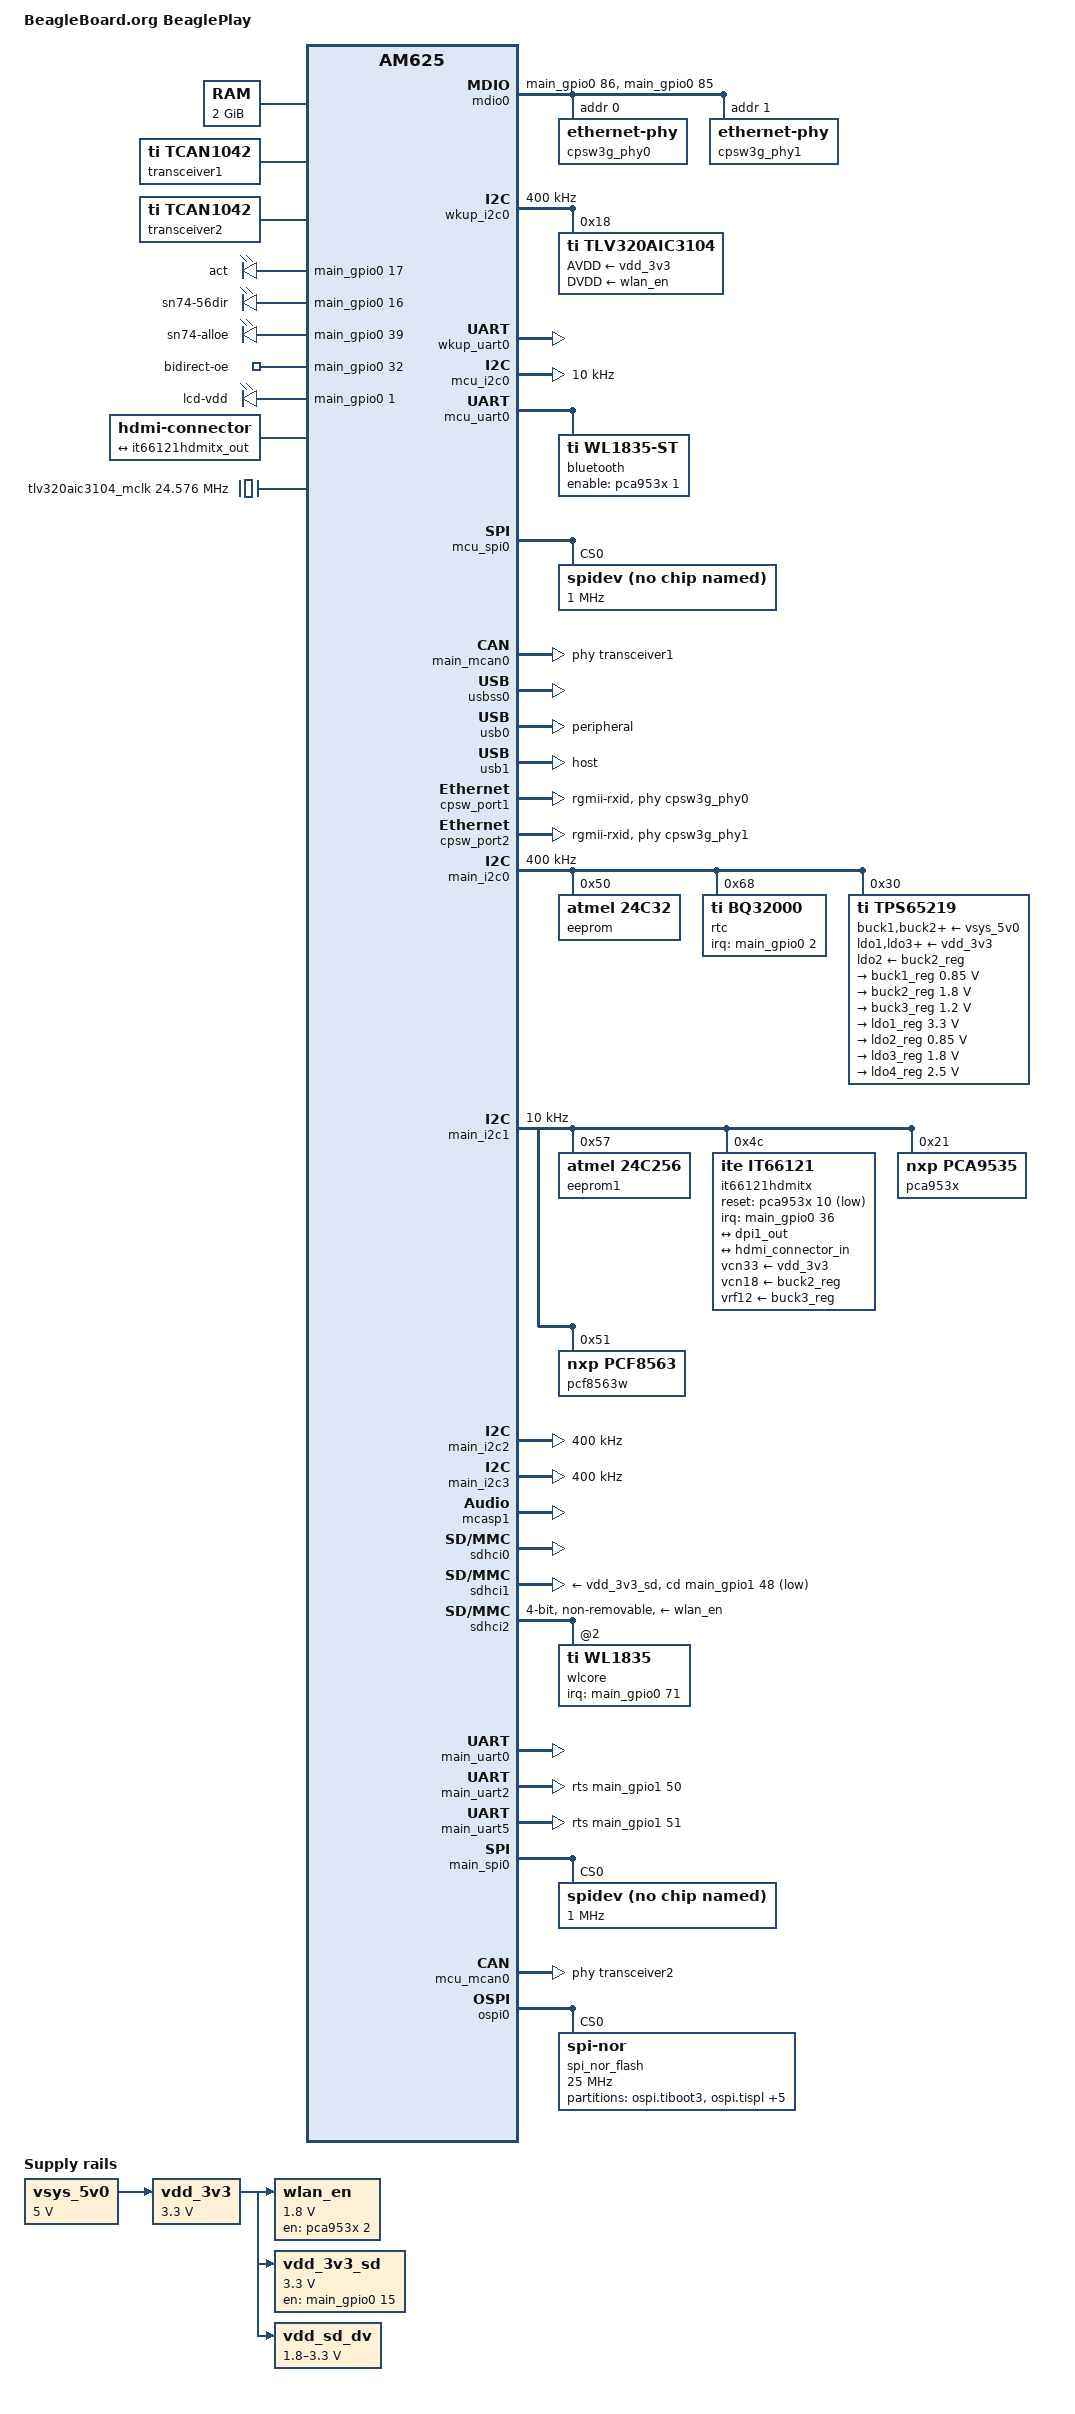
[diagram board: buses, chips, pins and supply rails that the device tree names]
// SPDX-License-Identifier: GPL-2.0
/*
 * https://beagleplay.org/
 *
 * Copyright (C) 2022-2023 Texas Instruments Incorporated - https://www.ti.com/
 * Copyright (C) 2022-2023 Robert Nelson, BeagleBoard.org Foundation
 */

/dts-v1/;

#include <dt-bindings/leds/common.h>
#include <dt-bindings/gpio/gpio.h>
#include <dt-bindings/input/input.h>
#include <dt-bindings/net/ti-dp83867.h>
#include "k3-am625.dtsi"

/ {
	compatible = "beagle,am625-beagleplay", "ti,am625";
	model = "BeagleBoard.org BeaglePlay";

	aliases {
		ethernet0 = &cpsw_port1;
		ethernet1 = &cpsw_port2;
		gpio0 = &main_gpio0;
		gpio1 = &main_gpio1;
		gpio2 = &mcu_gpio0;
		i2c0 = &main_i2c0;
		i2c1 = &main_i2c1;
		i2c2 = &main_i2c2;
		i2c3 = &main_i2c3;
		i2c4 = &wkup_i2c0;
		i2c5 = &mcu_i2c0;
		mdio-gpio0 = &mdio0;
		mmc0 = &sdhci0;
		mmc1 = &sdhci1;
		mmc2 = &sdhci2;
		rtc0 = &rtc;
		rtc1 = &wkup_rtc0;
		serial0 = &wkup_uart0;
		serial1 = &mcu_uart0;
		serial2 = &main_uart0;
		serial3 = &main_uart5;
		serial4 = &main_uart6;
		serial5 = &main_uart2;
		spi0 = &ospi0;
		spi1 = &main_spi0;
		spi2 = &mcu_spi0;
		usb0 = &usb0;
		usb1 = &usb1;
		can0 = &main_mcan0;
		can1 = &mcu_mcan0;
	};

	chosen {
		stdout-path = "serial2:115200n8";
		base_dtb = "k3-am625-beagleplay.dts";
		base_dtb_timestamp = __TIMESTAMP__;
	};

	memory@80000000 {
		device_type = "memory";
		/* 2G RAM */
		reg = <0x00000000 0x80000000 0x00000000 0x80000000>;
	};

	reserved-memory {
		#address-cells = <2>;
		#size-cells = <2>;
		ranges;

		rtos_ipc_memory_region: ipc-memories@9c800000 {
			compatible = "shared-dma-pool";
			reg = <0x00 0x9c800000 0x00 0x00300000>;
			no-map;
		};

		mcu_m4fss_dma_memory_region: m4f-dma-memory@9cb00000 {
			compatible = "shared-dma-pool";
			reg = <0x00 0x9cb00000 0x00 0x100000>;
			no-map;
		};

		mcu_m4fss_memory_region: m4f-memory@9cc00000 {
			compatible = "shared-dma-pool";
			reg = <0x00 0x9cc00000 0x00 0xe00000>;
			no-map;
		};

		wkup_r5fss0_core0_dma_memory_region: r5f-dma-memory@9da00000 {
			compatible = "shared-dma-pool";
			reg = <0x00 0x9da00000 0x00 0x00100000>;
			no-map;
		};

		wkup_r5fss0_core0_memory_region: r5f-memory@9db00000 {
			compatible = "shared-dma-pool";
			reg = <0x00 0x9db00000 0x00 0x00c00000>;
			no-map;
		};

		lpm_ctx_ddr: lpm-memory@9e700000 {
			reg = <0x00 0x9e700000 0x00 0x80000>;
			alignment = <0x1000>;
		};

		secure_tfa_ddr: tfa@9e780000 {
			reg = <0x00 0x9e780000 0x00 0x80000>;
			alignment = <0x1000>;
			no-map;
		};

		secure_ddr: optee@9e800000 {
			reg = <0x00 0x9e800000 0x00 0x01800000>; /* for OP-TEE */
			alignment = <0x1000>;
			no-map;
		};
	};

	vsys_5v0: regulator-1 {
		compatible = "regulator-fixed";
		regulator-name = "vsys_5v0";
		regulator-min-microvolt = <5000000>;
		regulator-max-microvolt = <5000000>;
		regulator-always-on;
		regulator-boot-on;
	};

	vdd_3v3: regulator-2 {
		/* output of TLV62595DMQR-U12 */
		compatible = "regulator-fixed";
		regulator-name = "vdd_3v3";
		regulator-min-microvolt = <3300000>;
		regulator-max-microvolt = <3300000>;
		vin-supply = <&vsys_5v0>;
		regulator-always-on;
		regulator-boot-on;
	};

	wlan_en: regulator-3 {
		/* OUTPUT of SN74AVC2T244DQMR */
		compatible = "regulator-fixed";
		regulator-name = "wlan_en";
		regulator-min-microvolt = <1800000>;
		regulator-max-microvolt = <1800000>;
		enable-active-high;
		regulator-always-on;
		vin-supply = <&vdd_3v3>;
		gpio = <&pca953x 2 GPIO_ACTIVE_HIGH>;
	};

	vdd_3v3_sd: regulator-4 {
		/* output of TPS22918DBVR-U21 */
		pinctrl-names = "default";
		pinctrl-0 = <&vdd_3v3_sd_pins_default>;

		compatible = "regulator-fixed";
		regulator-name = "vdd_3v3_sd";
		regulator-min-microvolt = <3300000>;
		regulator-max-microvolt = <3300000>;
		enable-active-high;
		regulator-always-on;
		vin-supply = <&vdd_3v3>;
		gpio = <&main_gpio0 15 GPIO_ACTIVE_HIGH>;
	};

	vdd_sd_dv: regulator-5 {
		compatible = "regulator-gpio";
		regulator-name = "sd_hs200_switch";
		pinctrl-names = "default";
		pinctrl-0 = <&vdd_sd_dv_pins_default>;
		regulator-min-microvolt = <1800000>;
		regulator-max-microvolt = <3300000>;
		regulator-boot-on;
		vin-supply = <&vdd_3v3>;
		gpios = <&main_gpio1 12 GPIO_ACTIVE_HIGH>;
		states = <1800000 0x1>,
			 <3300000 0x0>;
	};

	transceiver1: can-phy1 {
		compatible = "ti,tcan1042";
		#phy-cells = <0>;
		max-bitrate = <5000000>;
	};
	transceiver2: can-phy2 {
		compatible = "ti,tcan1042";
		#phy-cells = <0>;
		max-bitrate = <5000000>;
	};

	leds {
		compatible = "gpio-leds";
		pinctrl-names = "default";
		pinctrl-0 = <&core_board_io>;

		led-1 {
			label = "act";
			gpios = <&main_gpio0 17 GPIO_ACTIVE_HIGH>;
			linux,default-trigger = "mmc1";
 			default-state = "off";
 		};

		led-3 {
			label = "sn74-56dir";
			gpios = <&main_gpio0 16 GPIO_ACTIVE_HIGH>;
			linux,default-trigger = "default-off";
			default-state = "off";
 		};
		led-6 {
			label = "sn74-alloe";
			gpios = <&main_gpio0 39 GPIO_ACTIVE_HIGH>;
			linux,default-trigger = "default-off";
			default-state = "off";
 		};
		led-7 {
			label = "bidirect-oe";
			gpios = <&main_gpio0 32 GPIO_ACTIVE_HIGH>;
			linux,default-trigger = "default-off";
			default-state = "on";
 		};
		led-8 {
			label = "lcd-vdd";
			gpios = <&main_gpio0 1 GPIO_ACTIVE_HIGH>;
			linux,default-trigger = "default-off";
			default-state = "on";
 		};
	};

	hdmi0: connector {
		compatible = "hdmi-connector";
		label = "hdmi";
		type = "a";
		port {
			hdmi_connector_in: endpoint {
				remote-endpoint = <&it66121hdmitx_out>;
			};
		};
	};

	tlv320aic3104_mclk: tlv320aic3104_mclk {
		#clock-cells = <0>;
		compatible = "fixed-clock";
		clock-frequency = <24576000>;
	};

	sound {
		//compatible = "simple-audio-card";
		//simple-audio-card,name = "it66121 HDMI";
		//simple-audio-card,format = "i2s";
		//simple-audio-card,bitclock-master = <&hdmi_dailink_master>;
		//simple-audio-card,frame-master = <&hdmi_dailink_master>;
		//simple-audio-card,mclk-fs = <2182>;

		//hdmi_dailink_master: simple-audio-card,cpu {
		//	sound-dai = <&mcasp1>;
		//	system-clock-frequency = <24000000>;
		//	system-clock-direction-out;
		//};

		//simple-audio-card,codec {
		//	sound-dai = <&it66121hdmitx>;
		//};

		compatible = "simple-audio-card";
		simple-audio-card,format = "i2s";
		simple-audio-card,name = "beaglemod voice";
		simple-audio-card,bitclock-master = <&dailink0_master>;
		simple-audio-card,frame-master = <&dailink0_master>;
		status = "okay";

		simple-audio-card,widgets =
			"Headphone", "Headphone Jack",
			"Line", "Line In";
		simple-audio-card,routing =
			"Headphone Jack",       "HPLOUT",
			"Headphone Jack",       "HPROUT",
			"LINE1L",               "Line In",
			"LINE1R",               "Line In";
		dailink0_master: simple-audio-card,cpu {
			sound-dai = <&mcasp1>;
			system-clock-direction-out;
		};
		simple-audio-card,codec {
			sound-dai = <&tlv320aic3104>;
			clocks = <&tlv320aic3104_mclk>;
		};
	};

	mdio0: bitbang-mdio {
		compatible = "virtual,mdio-gpio";
		pinctrl-names = "default";
		pinctrl-0 = <&mdio0_pins_default>;
		gpios = <&main_gpio0 86 GPIO_ACTIVE_HIGH>, /* MDC */
			<&main_gpio0 85 GPIO_ACTIVE_HIGH>; /* MDIO */
		#address-cells = <1>;
		#size-cells = <0>;

		cpsw3g_phy0: ethernet-phy@0 {
			reg = <0>;
			reset-assert-us = <25>;
			reset-deassert-us = <60000>; /* T2 */
		};

		cpsw3g_phy1: ethernet-phy@1 {
			reg = <1>;
			reset-assert-us = <25>;
			reset-deassert-us = <60000>; /* T2 */
		};
	};
};

&main_pmx0 {
	hdmi_pins_default: hdmi-pins-default {
		pinctrl-single,pins = <
			AM62X_IOPAD(0x0100, PIN_OUTPUT, 0) /* (AC25) VOUT0_VSYNC */
			AM62X_IOPAD(0x00f8, PIN_OUTPUT, 0) /* (AB24) VOUT0_HSYNC */
			AM62X_IOPAD(0x0104, PIN_OUTPUT, 0) /* (AC24) VOUT0_PCLK */
			AM62X_IOPAD(0x00fc, PIN_OUTPUT, 0) /* (Y20) VOUT0_DE */
			AM62X_IOPAD(0x00b8, PIN_OUTPUT, 0) /* (U22) VOUT0_DATA0 */
			AM62X_IOPAD(0x00bc, PIN_OUTPUT, 0) /* (V24) VOUT0_DATA1 */
			AM62X_IOPAD(0x00c0, PIN_OUTPUT, 0) /* (W25) VOUT0_DATA2 */
			AM62X_IOPAD(0x00c4, PIN_OUTPUT, 0) /* (W24) VOUT0_DATA3 */
			AM62X_IOPAD(0x00c8, PIN_OUTPUT, 0) /* (Y25) VOUT0_DATA4 */
			AM62X_IOPAD(0x00cc, PIN_OUTPUT, 0) /* (Y24) VOUT0_DATA5 */
			AM62X_IOPAD(0x00d0, PIN_OUTPUT, 0) /* (Y23) VOUT0_DATA6 */
			AM62X_IOPAD(0x00d4, PIN_OUTPUT, 0) /* (AA25) VOUT0_DATA7 */
			AM62X_IOPAD(0x00d8, PIN_OUTPUT, 0) /* (V21) VOUT0_DATA8 */
			AM62X_IOPAD(0x00dc, PIN_OUTPUT, 0) /* (W21) VOUT0_DATA9 */
			AM62X_IOPAD(0x00e0, PIN_OUTPUT, 0) /* (V20) VOUT0_DATA10 */
			AM62X_IOPAD(0x00e4, PIN_OUTPUT, 0) /* (AA23) VOUT0_DATA11 */
			AM62X_IOPAD(0x00e8, PIN_OUTPUT, 0) /* (AB25) VOUT0_DATA12 */
			AM62X_IOPAD(0x00ec, PIN_OUTPUT, 0) /* (AA24) VOUT0_DATA13 */
			AM62X_IOPAD(0x00f0, PIN_OUTPUT, 0) /* (Y22) VOUT0_DATA14 */
			AM62X_IOPAD(0x00f4, PIN_OUTPUT, 0) /* (AA21) VOUT0_DATA15 */
		>;
	};


	gpio0_pins_default: gpio0-pins-default {
		pinctrl-single,pins = <
			AM62X_IOPAD(0x0030, PIN_OUTPUT, 7) /* (G21) OSPI0_CSn1.GPIO0_12 */
			AM62X_IOPAD(0x006c, PIN_OUTPUT, 7) /* (T22) GPMC0_AD12.GPIO0_27 */
			AM62X_IOPAD(0x0064, PIN_OUTPUT, 7) /* (T25) GPMC0_AD10.GPIO0_25 */
			AM62X_IOPAD(0x0068, PIN_OUTPUT, 7) /* (R21) GPMC0_AD11.GPIO0_26 */
			AM62X_IOPAD(0x00a8, PIN_INPUT, 7) /* (M21) GPMC0_CSn0.GPIO0_41 */
			AM62X_IOPAD(0x00ac, PIN_INPUT, 7) /* (L21) GPMC0_CSn1.GPIO0_42 */
		>;
	};

	gpio1_pins_default: gpio1-pins-default {
		pinctrl-single,pins = <
			AM62X_IOPAD(0x019c, PIN_OUTPUT, 7) /* (B18) MCASP0_AXR1.GPIO1_9 */
			AM62X_IOPAD(0x01a0, PIN_OUTPUT, 7) /* (E18) MCASP0_AXR0.GPIO1_10 */
			AM62X_IOPAD(0x0194, PIN_OUTPUT, 7) /* (B19) MCASP0_AXR3.GPIO1_7 */
			AM62X_IOPAD(0x0198, PIN_OUTPUT, 7) /* (A19) MCASP0_AXR2.GPIO1_8 */
			AM62X_IOPAD(0x01b0, PIN_OUTPUT, 7) /* (A20) MCASP0_ACLKR.GPIO1_14 */
		>;
	};

	vdd_sd_dv_pins_default: vdd-sd-pins-default {
		pinctrl-single,pins = <
			AM62X_IOPAD(0x01a8, PIN_OUTPUT, 7) /* (D20) MCASP0_AFSX.GPIO1_12 */
		>;
	};

	main_i2c1_pins_default: main-i2c1-pins-default {
		pinctrl-single,pins = <
			AM62X_IOPAD(0x01e8, PIN_INPUT_PULLUP, 0) /* (B17) I2C1_SCL */
			AM62X_IOPAD(0x01ec, PIN_INPUT_PULLUP, 0) /* (A17) I2C1_SDA */
		>;
	};

	local_i2c_pins_default: local-i2c-pins-default {
		pinctrl-single,pins = <
			AM62X_IOPAD(0x01e0, PIN_INPUT_PULLUP, 0) /* (B16) I2C0_SCL */
			AM62X_IOPAD(0x01e4, PIN_INPUT_PULLUP, 0) /* (A16) I2C0_SDA */
		>;
	};

	i2c2_1v8_pins_default: i2c2-pins-default {
		pinctrl-single,pins = <
			AM62X_IOPAD(0x00b0, PIN_INPUT_PULLUP, 1) /* (K22) GPMC0_CSn2.I2C2_SCL */
			AM62X_IOPAD(0x00b4, PIN_INPUT_PULLUP, 1) /* (K24) GPMC0_CSn3.I2C2_SDA */
		>;
	};

	mcasp_codec_pins_default: mcasp-codec-pins-default {
		pinctrl-single,pins = <
			AM62X_IOPAD(0x0090, PIN_INPUT, 2) /* (M24) GPMC0_BE0n_CLE.MCASP1_ACLKX */
			AM62X_IOPAD(0x0098, PIN_INPUT, 2) /* (U23) GPMC0_WAIT0.MCASP1_AFSX */
			AM62X_IOPAD(0x008c, PIN_INPUT, 2) /* (L25) GPMC0_WEn.MCASP1_AXR0 */
			AM62X_IOPAD(0x0088, PIN_OUTPUT, 2) /* (L24) GPMC0_OEn_REn.MCASP1_AXR1 */
		>;
	};

	mdio0_pins_default: mdio0-pins-default {
		pinctrl-single,pins = <
			AM62X_IOPAD(0x0160, PIN_OUTPUT, 7) /* (AD24) MDIO0_MDC.GPIO0_86 */
			AM62X_IOPAD(0x015c, PIN_INPUT, 7) /* (AB22) MDIO0_MDIO.GPIO0_85 */
		>;
	};

	rgmii1_pins_default: rgmii1-pins-default {
		pinctrl-single,pins = <
			AM62X_IOPAD(0x014c, PIN_INPUT, 0) /* (AB17) RGMII1_RD0 */
			AM62X_IOPAD(0x0150, PIN_INPUT, 0) /* (AC17) RGMII1_RD1 */
			AM62X_IOPAD(0x0154, PIN_INPUT, 0) /* (AB16) RGMII1_RD2 */
			AM62X_IOPAD(0x0158, PIN_INPUT, 0) /* (AA15) RGMII1_RD3 */
			AM62X_IOPAD(0x0148, PIN_INPUT, 0) /* (AD17) RGMII1_RXC */
			AM62X_IOPAD(0x0144, PIN_INPUT, 0) /* (AE17) RGMII1_RX_CTL */
			AM62X_IOPAD(0x0134, PIN_OUTPUT, 0) /* (AE20) RGMII1_TD0 */
			AM62X_IOPAD(0x0138, PIN_OUTPUT, 0) /* (AD20) RGMII1_TD1 */
			AM62X_IOPAD(0x013c, PIN_OUTPUT, 0) /* (AE18) RGMII1_TD2 */
			AM62X_IOPAD(0x0140, PIN_OUTPUT, 0) /* (AD18) RGMII1_TD3 */
			AM62X_IOPAD(0x0130, PIN_OUTPUT, 0) /* (AE19) RGMII1_TXC */
			AM62X_IOPAD(0x012c, PIN_OUTPUT, 0) /* (AD19) RGMII1_TX_CTL */
		>;
	};

	rgmii2_pins_default: rgmii2-pins-default {
		pinctrl-single,pins = <
			AM62X_IOPAD(0x0184, PIN_INPUT, 0) /* (W18) RGMII2_RD0 */
			AM62X_IOPAD(0x0188, PIN_INPUT, 0) /* (Y20) RGMII2_RD1 */
			AM62X_IOPAD(0x018c, PIN_INPUT, 0) /* (Y19) RGMII2_RD2 */
			AM62X_IOPAD(0x0190, PIN_INPUT, 0) /* (W20) RGMII2_RD3 */
			AM62X_IOPAD(0x0180, PIN_INPUT, 0) /* (V18) RGMII2_RXC */
			AM62X_IOPAD(0x017c, PIN_INPUT, 0) /* (W19) RGMII2_RX_CTL */
			AM62X_IOPAD(0x016c, PIN_OUTPUT, 0) /* (AA20) RGMII2_TD0 */
			AM62X_IOPAD(0x0170, PIN_OUTPUT, 0) /* (U15) RGMII2_TD1 */
			AM62X_IOPAD(0x0174, PIN_OUTPUT, 0) /* (W17) RGMII2_TD2 */
			AM62X_IOPAD(0x0178, PIN_OUTPUT, 0) /* (V16) RGMII2_TD3 */
			AM62X_IOPAD(0x0168, PIN_OUTPUT, 0) /* (Y18) RGMII2_TXC */
			AM62X_IOPAD(0x0164, PIN_OUTPUT, 0) /* (Y21) RGMII2_TX_CTL */
		>;
	};

	emmc_pins_default: emmc-pins-default {
		pinctrl-single,pins = <
			AM62X_IOPAD(0x0220, PIN_INPUT, 0) /* (Y3) MMC0_CMD */
			AM62X_IOPAD(0x0218, PIN_INPUT, 0) /* (AB1) MMC0_CLK */
			AM62X_IOPAD(0x0214, PIN_INPUT, 0) /* (AA2) MMC0_DAT0 */
			AM62X_IOPAD(0x0210, PIN_INPUT, 0) /* (AA1) MMC0_DAT1 */
			AM62X_IOPAD(0x020c, PIN_INPUT, 0) /* (AA3) MMC0_DAT2 */
			AM62X_IOPAD(0x0208, PIN_INPUT, 0) /* (Y4) MMC0_DAT3 */
			AM62X_IOPAD(0x0204, PIN_INPUT, 0) /* (AB2) MMC0_DAT4 */
			AM62X_IOPAD(0x0200, PIN_INPUT, 0) /* (AC1) MMC0_DAT5 */
			AM62X_IOPAD(0x01fc, PIN_INPUT, 0) /* (AD2) MMC0_DAT6 */
			AM62X_IOPAD(0x01f8, PIN_INPUT, 0) /* (AC2) MMC0_DAT7 */
		>;
	};

	vdd_3v3_sd_pins_default: vdd-3v3-sd-pins-default {
		pinctrl-single,pins = <
			AM62X_IOPAD(0x003c, PIN_OUTPUT, 7) /* (M25) GPMC0_AD0.GPIO0_15 */
		>;
	};

	sd_pins_default: sd-pins-default {
		pinctrl-single,pins = <
			AM62X_IOPAD(0x023c, PIN_INPUT, 0) /* (A21) MMC1_CMD */
			AM62X_IOPAD(0x0234, PIN_INPUT, 0) /* (B22) MMC1_CLK */
			AM62X_IOPAD(0x0230, PIN_INPUT, 0) /* (A22) MMC1_DAT0 */
			AM62X_IOPAD(0x022c, PIN_INPUT, 0) /* (B21) MMC1_DAT1 */
			AM62X_IOPAD(0x0228, PIN_INPUT, 0) /* (C21) MMC1_DAT2 */
			AM62X_IOPAD(0x0224, PIN_INPUT, 0) /* (D22) MMC1_DAT3 */
			AM62X_IOPAD(0x0240, PIN_INPUT, 7) /* (D17) MMC1_SDCD.GPIO1_48 */
		>;
	};

	wifi_pins_default: wifi-pins-default {
		pinctrl-single,pins = <
			AM62X_IOPAD(0x0120, PIN_INPUT, 0) /* (C24) MMC2_CMD */
			AM62X_IOPAD(0x0118, PIN_INPUT, 0) /* (D25) MMC2_CLK */
			AM62X_IOPAD(0x0114, PIN_INPUT, 0) /* (B24) MMC2_DAT0 */
			AM62X_IOPAD(0x0110, PIN_INPUT, 0) /* (C25) MMC2_DAT1 */
			AM62X_IOPAD(0x010c, PIN_INPUT, 0) /* (E23) MMC2_DAT2 */
			AM62X_IOPAD(0x0108, PIN_INPUT, 0) /* (D24) MMC2_DAT3 */
			AM62X_IOPAD(0x11c, PIN_INPUT, 0) /* (#N/A) MMC2_CLKB */
		>;
	};

	wifi_wlirq_pins_default: wifi-wlirq-pins-default {
		pinctrl-single,pins = <
			AM62X_IOPAD(0x0124, PIN_INPUT, 7) /* (A23) MMC2_SDCD.GPIO0_71 */
		>;
	};

	oldi_pins_default: oldi-pins-default {
		pinctrl-single,pins = <
			AM62X_IOPAD(0x0260, PIN_OUTPUT, 0) /* (AA5) OLDI0_A0N */
			AM62X_IOPAD(0x025c, PIN_OUTPUT, 0) /* (Y6) OLDI0_A0P */
			AM62X_IOPAD(0x0268, PIN_OUTPUT, 0) /* (AD3) OLDI0_A1N */
			AM62X_IOPAD(0x0264, PIN_OUTPUT, 0) /* (AB4) OLDI0_A1P */
			AM62X_IOPAD(0x0270, PIN_OUTPUT, 0) /* (Y8) OLDI0_A2N */
			AM62X_IOPAD(0x026c, PIN_OUTPUT, 0) /* (AA8) OLDI0_A2P */
			AM62X_IOPAD(0x0278, PIN_OUTPUT, 0) /* (AB6) OLDI0_A3N */
			AM62X_IOPAD(0x0274, PIN_OUTPUT, 0) /* (AA7) OLDI0_A3P */
			AM62X_IOPAD(0x0280, PIN_OUTPUT, 0) /* (AC6) OLDI0_A4N */
			AM62X_IOPAD(0x027c, PIN_OUTPUT, 0) /* (AC5) OLDI0_A4P */
			AM62X_IOPAD(0x0288, PIN_OUTPUT, 0) /* (AE5) OLDI0_A5N */
			AM62X_IOPAD(0x0284, PIN_OUTPUT, 0) /* (AD6) OLDI0_A5P */
			AM62X_IOPAD(0x0290, PIN_OUTPUT, 0) /* (AE6) OLDI0_A6N */
			AM62X_IOPAD(0x028c, PIN_OUTPUT, 0) /* (AD7) OLDI0_A6P */
			AM62X_IOPAD(0x0298, PIN_OUTPUT, 0) /* (AD8) OLDI0_A7N */
			AM62X_IOPAD(0x0294, PIN_OUTPUT, 0) /* (AE7) OLDI0_A7P */
			AM62X_IOPAD(0x02a0, PIN_OUTPUT, 0) /* (AD4) OLDI0_CLK0N */
			AM62X_IOPAD(0x029c, PIN_OUTPUT, 0) /* (AE3) OLDI0_CLK0P */
			AM62X_IOPAD(0x02a8, PIN_OUTPUT, 0) /* (AE4) OLDI0_CLK1N */
			AM62X_IOPAD(0x02a4, PIN_OUTPUT, 0) /* (AD5) OLDI0_CLK1P */
		>;
	};

	available_pru1_pins_default: pru1-pins-default {
		pinctrl-single,pins = <
			AM62X_IOPAD(0x0174, PIN_INPUT, 4) /* (AD21) RGMII2_TD2.PR0_PRU1_GPI4 */
			AM62X_IOPAD(0x0040, PIN_INPUT, 2) /* (N23) GPMC0_AD1.PR0_PRU1_GPI9 */
			AM62X_IOPAD(0x0044, PIN_INPUT, 2) /* (N24) GPMC0_AD2.PR0_PRU1_GPI10 */
			AM62X_IOPAD(0x0178, PIN_INPUT, 4) /* (AC20) RGMII2_TD3.PR0_PRU1_GPI16 */
		>;
	};

	touchscreen_pins_default: touchscreen-pins-default {
		pinctrl-single,pins = <
			AM62X_IOPAD(0x01b8, PIN_INPUT, 7) /* (C13) SPI0_CS1.GPIO1_16 */
		>;
	};

	backlight_pins_default: bl-pins-default {
		pinctrl-single,pins = <
			AM62X_IOPAD(0x01ac, PIN_OUTPUT, 6) /* (E19) MCASP0_AFSR.EHRPWM0_A */
			AM62X_IOPAD(0x009c, PIN_OUTPUT, 7) /* (V25) GPMC0_WAIT1.GPIO0_38 */
		>;
	};

	console_pins_default: console-pins-default {
		pinctrl-single,pins = <
			AM62X_IOPAD(0x01c8, PIN_INPUT, 0) /* (D14) UART0_RXD */
			AM62X_IOPAD(0x01cc, PIN_OUTPUT, 0) /* (E14) UART0_TXD */
		>;
	};

	pmic_irq_pins_default: pmic-irq-pins-default {
		pinctrl-single,pins = <
			AM62X_IOPAD(0x01f4, PIN_INPUT_PULLUP, 0) /* (D16) EXTINTn */
		>;
	};

	core_board_io: core-board-io {
		pinctrl-single,pins = <
			AM62X_IOPAD(0x0044, PIN_OUTPUT, 7) /* (N24) GPMC0_AD2.GPIO0_17 */
			AM62X_IOPAD(0x0040, PIN_OUTPUT, 7) /* (N23) GPMC0_AD1.GPIO0_16 */
			AM62X_IOPAD(0x00a0, PIN_OUTPUT, 7) /* (K25) GPMC0_WPn.GPIO0_39 */
			AM62X_IOPAD(0x0084, PIN_OUTPUT, 7) /* (L23) GPMC0_ADVn_ALE.GPIO0_32 */
			AM62X_IOPAD(0x0004, PIN_OUTPUT, 7) /* (G25) OSPI0_LBCLKO.GPIO0_1 */
		>;
	};

	main_mcan0_pins_default: main-mcan0-pins-default {
		pinctrl-single,pins = <
			AM62X_IOPAD(0x01dc, PIN_INPUT, 0) /* (E15) MCAN0_RX */
			AM62X_IOPAD(0x01d8, PIN_OUTPUT, 0) /* (C15) MCAN0_TX */
		>;
	};
	
 	main_uart2_pins_default: main-uart2-pins-default {
 		pinctrl-single,pins = <
			AM62X_IOPAD(0x01d0, PIN_INPUT, 3) /* (A15) UART0_CTSn.UART2_RXD */
			AM62X_IOPAD(0x01d4, PIN_OUTPUT, 3) /* (B15) UART0_RTSn.UART2_TXD */
			AM62X_IOPAD(0x0254, PIN_OUTPUT, 7) /* (C20) USB0_DRVVBUS.GPIO1_50 */
 		>;
 	};

 	main_uart5_pins_default: main-uart5-pins-default {
 		pinctrl-single,pins = <
			AM62X_IOPAD(0x0034, PIN_INPUT, 5) /* (H21) OSPI0_CSn2.UART5_RXD */
			AM62X_IOPAD(0x0038, PIN_OUTPUT, 5) /* (E24) OSPI0_CSn3.UART5_TXD */
			AM62X_IOPAD(0x0258, PIN_OUTPUT, 7) /* (F18) USB1_DRVVBUS.GPIO1_51 */
 		>;
 	};

        ospi0_pins_default: ospi0-pins-default {
                pinctrl-single,pins = <
                        AM62X_IOPAD(0x000, PIN_OUTPUT, 0) /* (H24) OSPI0_CLK */
                        AM62X_IOPAD(0x02c, PIN_OUTPUT, 0) /* (F23) OSPI0_CSn0 */
                        AM62X_IOPAD(0x00c, PIN_INPUT, 0) /* (E25) OSPI0_D0 */
                        AM62X_IOPAD(0x010, PIN_INPUT, 0) /* (G24) OSPI0_D1 */
                        AM62X_IOPAD(0x014, PIN_INPUT, 0) /* (F25) OSPI0_D2 */
                        AM62X_IOPAD(0x018, PIN_INPUT, 0) /* (F24) OSPI0_D3 */
                        AM62X_IOPAD(0x01c, PIN_INPUT, 0) /* (J23) OSPI0_D4 */
                        AM62X_IOPAD(0x020, PIN_INPUT, 0) /* (J25) OSPI0_D5 */
                        AM62X_IOPAD(0x024, PIN_INPUT, 0) /* (H25) OSPI0_D6 */
                        AM62X_IOPAD(0x028, PIN_INPUT, 0) /* (J22) OSPI0_D7 */
                        AM62X_IOPAD(0x008, PIN_INPUT, 0) /* (J24) OSPI0_DQS */
                >;
        };

	main_spi0_pins_default: main-spi0-pins-default {
		pinctrl-single,pins = <
			AM62X_IOPAD(0x01bc, PIN_INPUT, 0) /* (A14) SPI0_CLK */
			AM62X_IOPAD(0x01b4, PIN_INPUT, 0) /* (A13) SPI0_CS0 */
			AM62X_IOPAD(0x01c0, PIN_INPUT, 0) /* (B13) SPI0_D0 */
			AM62X_IOPAD(0x01c4, PIN_INPUT, 0) /* (B14) SPI0_D1 */
		>;
	};
};

&mcu_pmx0 {
	hdmi_gpio_pins_default: hdmi-gpio-pins-default {
		pinctrl-single,pins = <
			AM62X_IOPAD(0x0094, PIN_INPUT_PULLUP, 7) /* (N20) GPMC0_BE1n.GPIO0_36 */
		>;
	};

	mcu_i2c0_pins_default: i2c-qwiic-pins-default {
		pinctrl-single,pins = <
			AM62X_MCU_IOPAD(0x0044, PIN_INPUT, 0) /* (A8) MCU_I2C0_SCL */
			AM62X_MCU_IOPAD(0x0048, PIN_INPUT, 0) /* (D10) MCU_I2C0_SDA */
		>;
	};

	mcu_bt_uart_pins_default: mcu-bt-uart-pins-default {
		pinctrl-single,pins = <
			AM62X_MCU_IOPAD(0x001c, PIN_INPUT, 0) /* (A6) MCU_UART0_CTSn */
			AM62X_MCU_IOPAD(0x0020, PIN_OUTPUT, 0) /* (B6) MCU_UART0_RTSn */
			AM62X_MCU_IOPAD(0x0014, PIN_INPUT, 0) /* (B5) MCU_UART0_RXD */
			AM62X_MCU_IOPAD(0x0018, PIN_OUTPUT, 0) /* (A5) MCU_UART0_TXD */
		>;
	};

	wkup_i2c0_pins_default: wkup-i2c0-pins-default {
		pinctrl-single,pins = <
			AM62X_MCU_IOPAD(0x004c, PIN_INPUT_PULLUP, 0) /* (B9) WKUP_I2C0_SCL */
			AM62X_MCU_IOPAD(0x0050, PIN_INPUT_PULLUP, 0) /* (A9) WKUP_I2C0_SDA */
		>;
	};

	wifi_32k_clk: mcu-clk-out-pins-default {
		pinctrl-single,pins = <
			/* A12 comes out on Strap option to route to wifi 32k */
			AM62X_MCU_IOPAD(0x0084, PIN_OUTPUT, 0) /* (A12) WKUP_CLKOUT0 */
		>;
	};

	mcu_mcan0_pins_default: mcu-mcan0-pins-default {
		pinctrl-single,pins = <
			AM62X_MCU_IOPAD(0x0038, PIN_INPUT, 0) /* (B3) MCU_MCAN0_RX */
			AM62X_MCU_IOPAD(0x0034, PIN_OUTPUT, 0) /* (D6) MCU_MCAN0_TX */
		>;
	};

	mcu_gpio0_pins_default: mcu-gpio0-pins-default {
		pinctrl-single,pins = <
			AM62X_MCU_IOPAD(0x003c, PIN_OUTPUT, 7) /* (E5) MCU_MCAN1_TX.MCU_GPIO0_15 */
			AM62X_MCU_IOPAD(0x0000, PIN_OUTPUT, 7) /* (E8) MCU_SPI0_CS0.MCU_GPIO0_0 */
			AM62X_MCU_IOPAD(0x0004, PIN_OUTPUT, 7) /* (B8) MCU_SPI0_CS1.MCU_GPIO0_1 */
		>;
	};

	pin40_spi_pins_default: pin40-spi-pins-default {
		pinctrl-single,pins = <
			AM62X_MCU_IOPAD(0x0008, PIN_INPUT, 0) /* (A7) MCU_SPI0_CLK */
			AM62X_MCU_IOPAD(0x000c, PIN_INPUT, 0) /* (D9) MCU_SPI0_D0 */
			AM62X_MCU_IOPAD(0x0010, PIN_INPUT, 0) /* (C9) MCU_SPI0_D1 */
		>;
	};

         wkup_uart0_pins_default: wkup-uart0-pins-default {
                 pinctrl-single,pins = <
                         AM62X_MCU_IOPAD(0x002c, PIN_INPUT, 0) /* (A7) WKUP_UART0_CTSn */
                         AM62X_MCU_IOPAD(0x0030, PIN_OUTPUT, 0) /* (B4) WKUP_UART0_RTSn */
                         AM62X_MCU_IOPAD(0x0024, PIN_INPUT, 0) /* (B5) WKUP_UART0_RXD */
                         AM62X_MCU_IOPAD(0x0028, PIN_OUTPUT, 0) /* (C6) WKUP_UART0_TXD */
                 >;
         };

};

&a53_opp_table {
	/* Requires VDD_CORE to be at 0.85V */
	opp-1400000000 {
		opp-hz = /bits/ 64 <1400000000>;
		opp-supported-hw = <0x01 0x0004>;
	};
};

/* cbass_main */
/* cbass_wkup */

&wkup_i2c0 {
	pinctrl-names = "default";
	pinctrl-0 = <&wkup_i2c0_pins_default>;
	/* Bump Up to 400KHz if module allows - 100KHz default */
	clock-frequency = <400000>;
	status = "okay";

	tlv320aic3104: tlv320aic3104@18 {
		#sound-dai-cells = <0>;
		compatible = "ti,tlv320aic3104";
		reg = <0x18>;
		//reset-gpios = <&pcf857x 13 0>;
		ai3x-micbias-vg = <2>; // set MICBIAS to 2.5v
		AVDD-supply = <&vdd_3v3>;
		DVDD-supply = <&wlan_en>;
		status = "okay";
	};
};

&wkup_uart0 {
        status = "okay";
        pinctrl-names = "default";
        pinctrl-0 = <&wkup_uart0_pins_default>;
};

&mcu_i2c0 {
	pinctrl-names = "default";
	pinctrl-0 = <&mcu_i2c0_pins_default>;
	/* Bump Up to 400 if desired */
	clock-frequency = <10000>;
	status = "okay";
};

&mcu_uart0 {
	pinctrl-names = "default";
	pinctrl-0 = <&mcu_bt_uart_pins_default>;
	status = "okay";
	bluetooth {
             compatible = "ti,wl1835-st";
             enable-gpios = <&pca953x 1 GPIO_ACTIVE_HIGH>;
	};
};

&mcu_spi0 {
       status = "okay";
       pinctrl-names = "default";
       pinctrl-0 = <&pin40_spi_pins_default>;
       #address-cells = <1>;
       #size-cells = <0>;

       spidev@0 {
               compatible = "spidev";
               spi-max-frequency = <1000000>;
               reg = <0>;
       };
};

&mcu_spi1 {
	status = "disabled";
};

&mcu_rti0 {
      /* Tightly coupled to M4F */
      status = "disabled";
};

&mcu_m4fss {
	mboxes = <&mailbox0_cluster0 &mbox_m4_0>;
	memory-region = <&mcu_m4fss_dma_memory_region>,
			<&mcu_m4fss_memory_region>;
};

&fss {
};

&main_mcan0 {
	pinctrl-names = "default";
	pinctrl-0 = <&main_mcan0_pins_default>;
	phys = <&transceiver1>;
	status = "okay";
};

&crypto {
	status = "disabled";
};

&mailbox0_cluster0 {
	mbox_m4_0: mbox-m4-0 {
		ti,mbox-rx = <0 0 0>;
		ti,mbox-tx = <1 0 0>;
	};
};

&usbss0 {
	ti,vbus-divider;
	status = "okay";
};

&usb0 {
	dr_mode = "peripheral";
};

&usb1 {
	dr_mode = "host";
	pinctrl-names = "default";
};

&cpsw3g {
	pinctrl-names = "default";
	pinctrl-0 = <&rgmii1_pins_default>, <&rgmii2_pins_default>;
	assigned-clocks = <&k3_clks 157 70>, <&k3_clks 157 20>;
	assigned-clock-parents = <&k3_clks 157 72>, <&k3_clks 157 22>;
};

&cpsw_port1 {
	phy-mode = "rgmii-rxid";
	phy-handle = <&cpsw3g_phy0>;
};

&cpsw_port2 {
	phy-mode = "rgmii-rxid";
	phy-handle = <&cpsw3g_phy1>;
};

&cpsw3g_mdio {
	/* Workaround for errata i2329 - Use mdio bitbang */
	status = "disabled";
};

&main_gpio0 {
	pinctrl-names = "default";
	pinctrl-0 = <&gpio0_pins_default>;
};

&main_gpio1 {
	pinctrl-names = "default";
	pinctrl-0 = <&gpio1_pins_default>;
};

&mcu_gpio0 {
	pinctrl-names = "default";
	pinctrl-0 = <&mcu_gpio0_pins_default>;
};

&main_i2c0 {
	pinctrl-names = "default";
	pinctrl-0 = <&local_i2c_pins_default>;
	clock-frequency = <400000>;
	status = "okay";

	eeprom@50 {
		compatible = "atmel,24c32";
		reg = <0x50>;
	};

	rtc: rtc@68 {
		compatible = "ti,bq32000";
		reg = <0x68>;
		interrupt-parent = <&main_gpio0>;
		interrupts = <2 IRQ_TYPE_EDGE_FALLING>;
	};

	tps65219: pmic@30 {
		compatible = "ti,tps65219";
		reg = <0x30>;
		buck1-supply = <&vsys_5v0>;
		buck2-supply = <&vsys_5v0>;
		buck3-supply = <&vsys_5v0>;
		ldo1-supply = <&vdd_3v3>;
		ldo2-supply = <&buck2_reg>;
		ldo3-supply = <&vdd_3v3>;
		ldo4-supply = <&vdd_3v3>;

		pinctrl-names = "default";
		pinctrl-0 = <&pmic_irq_pins_default>;
		interrupt-parent = <&gic500>;
		interrupts = <GIC_SPI 224 IRQ_TYPE_LEVEL_HIGH>;
		interrupt-controller;
		#interrupt-cells = <2>;

		system-power-controller;
		wakeup-source;
		power-button;

		regulators {
			buck1_reg: buck1 {
				regulator-name = "VDD_CORE";
				regulator-min-microvolt = <850000>;
				regulator-max-microvolt = <850000>;
				regulator-boot-on;
				regulator-always-on;
			};

			buck2_reg: buck2 {
				regulator-name = "VDD_1V8";
				regulator-min-microvolt = <1800000>;
				regulator-max-microvolt = <1800000>;
				regulator-boot-on;
				regulator-always-on;
			};

			buck3_reg: buck3 {
				regulator-name = "VDD_1V2";
				regulator-min-microvolt = <1200000>;
				regulator-max-microvolt = <1200000>;
				regulator-boot-on;
				regulator-always-on;
			};

			ldo1_reg: ldo1 {
				/*
				 * Regulator is left as is unused, vdd_sd
				 * is controlled via GPIO with bypass config
				 * as per the NVM configuration
				 */
				regulator-name = "VDD_SD_3V3";
				regulator-min-microvolt = <3300000>;
				regulator-max-microvolt = <3300000>;
				regulator-allow-bypass;
				regulator-boot-on;
				regulator-always-on;
			};

			ldo2_reg: ldo2 {
				regulator-name = "VDDA_0V85";
				regulator-min-microvolt = <850000>;
				regulator-max-microvolt = <850000>;
				regulator-boot-on;
				regulator-always-on;
			};

			ldo3_reg: ldo3 {
				regulator-name = "VDDA_1V8";
				regulator-min-microvolt = <1800000>;
				regulator-max-microvolt = <1800000>;
				regulator-boot-on;
				regulator-always-on;
			};

			ldo4_reg: ldo4 {
				regulator-name = "VDD_2V5";
				regulator-min-microvolt = <2500000>;
				regulator-max-microvolt = <2500000>;
				regulator-boot-on;
				regulator-always-on;
			};
		};
	};
};

&main_i2c1 {
	pinctrl-names = "default";
	pinctrl-0 = <&main_i2c1_pins_default>;
	clock-frequency = <10000>;
	status = "okay";

	eeprom1: eeprom@57 {
		compatible = "atmel,24c256";
		reg = <0x57>;
	};

	it66121hdmitx: hdmitx@4c {
		#sound-dai-cells = <0>;
		compatible = "ite,it66121";
		pinctrl-names = "default";
		pinctrl-0 = <&hdmi_gpio_pins_default>;
		reg = <0x4c>;

		interrupt-parent = <&main_gpio0>;
		interrupts = <36 IRQ_TYPE_EDGE_FALLING>;

		vcn33-supply = <&vdd_3v3>;
		vcn18-supply = <&buck2_reg>;
		vrf12-supply = <&buck3_reg>;

		reset-gpios = <&pca953x 10 GPIO_ACTIVE_LOW>;

		ports {
			#address-cells = <1>;
			#size-cells = <0>;

			port@0 {
				reg = <0>;

				it66121hdmitx_in: endpoint {
					bus-width = <24>;
					remote-endpoint = <&dpi1_out>;
				};
			};

			port@1 {
				reg = <1>;

				it66121hdmitx_out: endpoint {
					remote-endpoint = <&hdmi_connector_in>;
				};
			};
		};
	};

	pca953x: pca@21 {
		compatible = "nxp,pca9535";
		reg = <0x21>;
		status = "okay";

		gpio-controller;
		#gpio-cells = <2>;
		//We don't use interrupt here?
		//Because all the expand IO are output.
	};

	pcf8563w@51 {
		compatible = "nxp,pcf8563";
		reg = <0x51>;
		reset-source;
		/* 0 = 4096Hz, 1 = 64Hz, 2 = 1Hz, 3 = 1/60Hz */
		timer-frequency = <0x02>;
		/* Timeout count, max 255 min 2*/
		default-timeout =  <120>;
		min-hw-heartbeat-ms = <2000>;
	};
};

&main_i2c2 {
	pinctrl-names = "default";
	pinctrl-0 = <&i2c2_1v8_pins_default>;
	clock-frequency = <400000>;
	status = "okay";
};

&main_i2c3 {
	clock-frequency = <400000>;
	status = "okay";
};

&main_spi2 {
	status = "disabled";
};

&mcasp0 {
	status = "disabled";
};

&mcasp1 {
	status = "okay";
	pinctrl-names = "default";
	pinctrl-0 = <&mcasp_codec_pins_default>;

	#sound-dai-cells = <0>;

	op-mode = <0>;          /* MCASP_IIS_MODE */
	tdm-slots = <2>;

	serial-dir = <  /* 0: INACTIVE, 1: TX, 2: RX */
	       2 1 0 0
	       0 0 0 0
	       0 0 0 0
	       0 0 0 0
	>;
	tx-num-evt = <32>;
	rx-num-evt = <32>;
};

&mcasp2 {
	status = "disabled";
};

&dss {
	pinctrl-names = "default";
	pinctrl-0 = <&hdmi_pins_default>;
};

&dss_ports {
	#address-cells = <1>;
	#size-cells = <0>;

	/* VP2: DPI Output */
	port@1 {
		reg = <1>;

		dpi1_out: endpoint {
			remote-endpoint = <&it66121hdmitx_in>;
		};
	};
};

&sdhci0 {
	pinctrl-names = "default";
	pinctrl-0 = <&emmc_pins_default>;
	ti,driver-strength-ohm = <50>;
	disable-wp;
	status = "okay";
};

&sdhci1 {
	/* SD/MMC */
	pinctrl-names = "default";
	pinctrl-0 = <&sd_pins_default>;

	vmmc-supply = <&vdd_3v3_sd>;
	vqmmc-supply = <&vdd_sd_dv>;
	ti,driver-strength-ohm = <50>;
	disable-wp;
	cd-gpios = <&main_gpio1 48 GPIO_ACTIVE_LOW>;
	cd-debounce-delay-ms = <100>;
	ti,fails-without-test-cd;
	status = "okay";
};

&sdhci2 {
	vmmc-supply = <&wlan_en>;
	pinctrl-names = "default";
	pinctrl-0 = <&wifi_pins_default>, <&wifi_32k_clk>;
	bus-width = <4>;
	non-removable;
	ti,fails-without-test-cd;
	cap-power-off-card;
	keep-power-in-suspend;
	ti,driver-strength-ohm = <50>;
	assigned-clocks = <&k3_clks 157 158>;
	assigned-clock-parents = <&k3_clks 157 160>;
	#address-cells = <1>;
	#size-cells = <0>;
	status = "okay";

	wlcore: wlcore@2 {
		compatible = "ti,wl1835";
		reg = <2>;
		pinctrl-names = "default";
		pinctrl-0 = <&wifi_wlirq_pins_default>;
		interrupt-parent = <&main_gpio0>;
		interrupts = <71 IRQ_TYPE_EDGE_FALLING>;
	};
};

&epwm0 {
	status = "disabled";
};

&epwm1 {
	status = "disabled";
};

&epwm2 {
	status = "disabled";
};

&ecap0_pwm {
	status = "disabled";
};

&ecap1_pwm {
	status = "disabled";
};

&ecap2_pwm {
	status = "disabled";
};

&main_uart0 {
	pinctrl-names = "default";
	pinctrl-0 = <&console_pins_default>;
	status = "okay";
};

&main_uart1 {
	/* Main UART1 is used by TIFS firmware */
	status = "reserved";
};

&main_uart2 {
	status = "okay";
	pinctrl-names = "default";
	pinctrl-0 = <&main_uart2_pins_default>;
	rts-gpios = <&main_gpio1 50 GPIO_ACTIVE_HIGH>;
};

&main_uart3 {
	status = "disabled";
};

&main_uart4 {
	status = "disabled";
};

&main_uart5 {
	status = "okay";
	pinctrl-names = "default";
	pinctrl-0 = <&main_uart5_pins_default>;
	rts-gpios = <&main_gpio1 51 GPIO_ACTIVE_HIGH>;
};

&main_uart6 {
	status = "disabled";
};

&main_spi0 {
	status = "okay";
	pinctrl-names = "default";
	pinctrl-0 = <&main_spi0_pins_default>;
	
       spidev@0 {
               compatible = "spidev";
               spi-max-frequency = <1000000>;
               reg = <0>;
       };
};

&main_spi1 {
	status = "disabled";
};

&dphy0 {
       status = "disabled";
};

&ti_csi2rx0 {
      status = "disabled";
};

&mcu_mcan0 {
	pinctrl-names = "default";
	pinctrl-0 = <&mcu_mcan0_pins_default>;
	phys = <&transceiver2>;
	status = "okay";
};

&ospi0 {
        pinctrl-names = "default";
        pinctrl-0 = <&ospi0_pins_default>;
        status = "okay";

    spi_nor_flash: flash@0 {
      compatible = "jedec,spi-nor";
      reg = <0x0>;
      spi-tx-bus-width = <8>;
      spi-rx-bus-width = <8>;
      spi-max-frequency = <25000000>;
      cdns,tshsl-ns = <60>;
      cdns,tsd2d-ns = <60>;
      cdns,tchsh-ns = <60>;
      cdns,tslch-ns = <60>;
      cdns,read-delay = <4>;
      cdns,phy-mode;

      partitions {
        compatible = "fixed-partitions";
        #address-cells = <1>;
        #size-cells = <1>;

        partition@0 {
          label = "ospi.tiboot3";
          reg = <0x0 0x80000>;
        };

        partition@80000 {
          label = "ospi.tispl";
          reg = <0x80000 0x200000>;
        };

        partition@280000 {
          label = "ospi.u-boot";
          reg = <0x280000 0x400000>;
        };

        partition@680000 {
          label = "ospi.env";
          reg = <0x680000 0x40000>;
        };

        partition@6c0000 {
          label = "ospi.env.backup";
          reg = <0x6c0000 0x40000>;
        };

        partition@800000 {
          label = "ospi.rootfs";
          reg = <0x800000 0x37c0000>;
        };

        partition@3fc0000 {
          label = "ospi.phypattern";
          reg = <0x3fc0000 0x40000>;
        };
      };
    };
};
